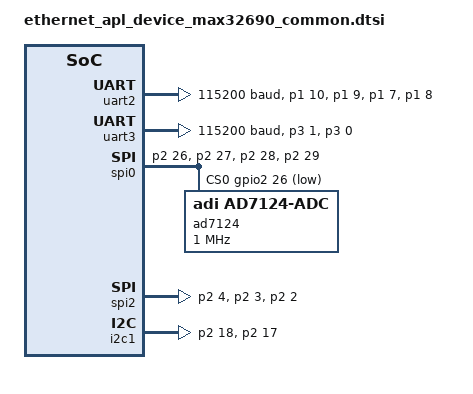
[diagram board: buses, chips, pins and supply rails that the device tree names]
/*
 * Copyright (c) 2025 Analog Devices, Inc.
 *
 * SPDX-License-Identifier: Apache-2.0
 */

#include <adi/max32/max32690-pinctrl.dtsi>
#include <zephyr/dt-bindings/gpio/adi-max32-gpio.h>
#include <zephyr/dt-bindings/memory-controller/adi-max32-hpb.h>

&gpio0 {
	status = "okay";
};

&gpio1 {
	status = "okay";
};

&gpio2 {
	status = "okay";
};

&gpio3 {
	status = "okay";
};

&gpio4 {
	status = "okay";
};

&uart2 {
	pinctrl-0 = <&uart2a_tx_p1_10 &uart2a_rx_p1_9 &uart2a_cts_p1_7 &uart2a_rts_p1_8>;
	pinctrl-names = "default";
	current-speed = <115200>;
	data-bits = <8>;
	parity = "none";
};

&uart3 {
	pinctrl-0 = <&lpuart0b_tx_p3_1 &lpuart0b_rx_p3_0>;
	pinctrl-names = "default";
	current-speed = <115200>;
	data-bits = <8>;
	parity = "none";
};

&spi0b_ss1_p2_26 {
	power-source = <MAX32_VSEL_VDDIOH>;
};

&spi0b_miso_p2_27 {
	power-source = <MAX32_VSEL_VDDIOH>;
};

&spi0b_mosi_p2_28 {
	power-source = <MAX32_VSEL_VDDIOH>;
};

&spi0b_sck_p2_29 {
	power-source = <MAX32_VSEL_VDDIOH>;
};

&spi0 {
	status = "okay";
	pinctrl-0 = <&spi0b_ss1_p2_26 &spi0b_miso_p2_27 &spi0b_mosi_p2_28 &spi0b_sck_p2_29>;
	pinctrl-names = "default";

	cs-gpios = <&gpio2 26 GPIO_ACTIVE_LOW>;

	ad7124: ad7124@0 {
		status = "okay";
		compatible = "adi,ad7124-adc";
		reg = <0x0>;
		spi-max-frequency = <DT_FREQ_M(1)>;
		#io-channel-cells = <1>;
		active-device = <0>;
	};
};

/* MAXQ1065 bus */
&spi2 {
	status = "okay";
	pinctrl-0 = <&spi2a_mosi_p2_4 &spi2a_miso_p2_3 &spi2a_sck_p2_2>;
	pinctrl-names = "default";

	cs-gpios = <&gpio2 5 GPIO_ACTIVE_LOW>;
};

&i2c1 {
	pinctrl-0 = <&i2c1a_scl_p2_18 &i2c1a_sda_p2_17>;
	pinctrl-1 = <&i2c1a_scl_p2_18_sleep &i2c1a_sda_p2_17_sleep>;
	pinctrl-names = "default", "sleep";

	max42500_wdt: max42500@28 {
		compatible = "adi,max42500-watchdog";
		status = "disabled";
		reg = <0x28>;

		#address-cells = <1>;
		#size-cells = <0>;
	};
};

&flash0 {
	partitions {
		compatible = "fixed-partitions";
		#address-cells = <1>;
		#size-cells = <1>;
		ranges;

		m4_partition: partition@0 {
			label = "image-m4";
			reg = <0x0 DT_SIZE_M(1)>;
		};

		storage_partition: partition@100000 {
			label = "storage";
			reg = <0x100000 DT_SIZE_K(64)>;
		};
	};
};

&flash1 {
	partitions {
		compatible = "fixed-partitions";
		#address-cells = <1>;
		#size-cells = <1>;
		ranges;

		rv32_partition: rv32_partition@0 {
			label = "image-rv32";
			reg = <0x0 DT_SIZE_K(192)>;
		};

		rv32_storage_partition: rv32_partition@30000 {
			label = "rv32-storage";
			reg = <0x30000 DT_SIZE_K(64)>;
		};
	};
};
